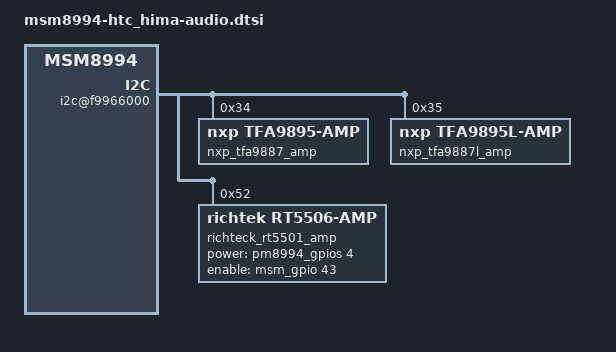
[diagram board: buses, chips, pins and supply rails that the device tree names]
/* Copyright (c) 2016, The Linux Foundation. All rights reserved.
 *
 * This program is free software; you can redistribute it and/or modify
 * it under the terms of the GNU General Public License version 2 and
 * only version 2 as published by the Free Software Foundation.
 *
 * This program is distributed in the hope that it will be useful,
 * but WITHOUT ANY WARRANTY; without even the implied warranty of
 * MERCHANTABILITY or FITNESS FOR A PARTICULAR PURPOSE.  See the
 * GNU General Public License for more details.
 */

/*
 * msm8994-audio-hima: audio path setting
 */

&soc {
  i2c@f9966000 {
		nxp_tfa9887_amp@34 {
			compatible = "nxp,tfa9895-amp";
			reg = <0x34>;
		};
		nxp_tfa9887l_amp@35 {
			compatible = "nxp,tfa9895l-amp";
			reg = <0x35>;
		};
		richteck_rt5501_amp@52 {
			compatible = "richtek,rt5506-amp";
			reg = <0x52>;
			richtek,power-gpio = <&pm8994_gpios 4 0x00>;
			richtek,enable-gpio = <&msm_gpio 43 0x00>;
			power_supply = "8941_s3";
		};

	};
};

